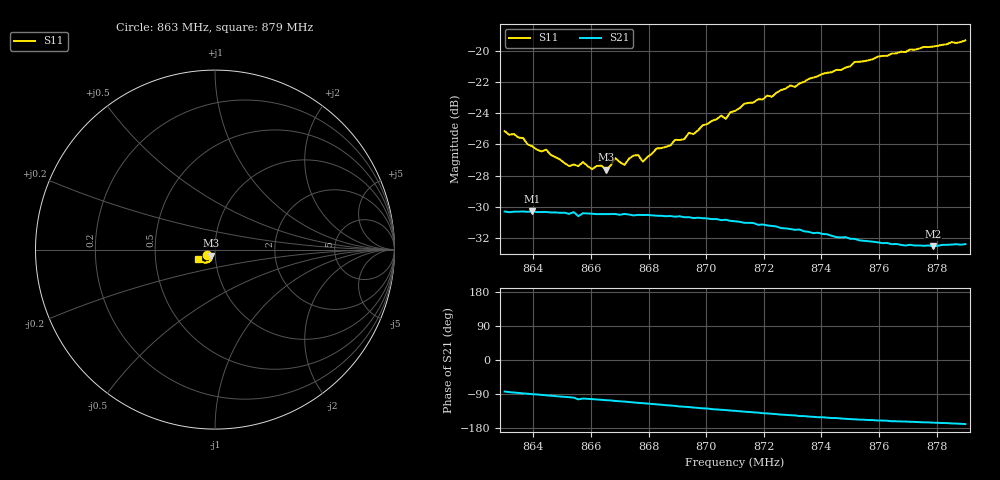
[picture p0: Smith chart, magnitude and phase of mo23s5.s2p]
# HZ S RI R 50
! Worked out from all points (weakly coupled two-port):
!   101 points, 863 MHz to 879 MHz, reference 50 ohm
!   highest |S21| = -30.28 dB at 863.96 MHz (marker M1); lowest = -32.5 dB at 877.88 MHz (marker M2)
!   lowest |S11| = -27.6 dB at 866.52 MHz (marker M3), VSWR 1.09, Z = 47.6 - j3.28 ohm
!   |S11| at or under -10 dB: start of sweep to end of sweep
!   S12 and S22 are empty: the file has one direction only
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8.63e8  -0.0471 -0.029  0.00359 -0.0304  0 0  0 0
8.6396e8  -0.0399 -0.0292  -9.4e-05 -0.0306  0 0  0 0
8.6444e8  -0.0419 -0.0239  -0.00163 -0.0304  0 0  0 0
8.6524e8  -0.0304 -0.0301  -0.00427 -0.0297  0 0  0 0
8.6572e8  -0.0294 -0.0327  -0.00611 -0.0296  0 0  0 0
8.6604e8  -0.0262 -0.0325  -0.00686 -0.0293  0 0  0 0
8.6636e8  -0.0267 -0.0336  -0.00777 -0.029  0 0  0 0
8.6652e8  -0.0234 -0.0344  -0.00832 -0.0288  0 0  0 0
8.6684e8  -0.0254 -0.0375  -0.00932 -0.0285  0 0  0 0
8.6716e8  -0.022 -0.037  -0.0101 -0.0283  0 0  0 0
8.6764e8  -0.0226 -0.0404  -0.0117 -0.0274  0 0  0 0
8.678e8  -0.0197 -0.0395  -0.0121 -0.0272  0 0  0 0
8.6844e8  -0.0201 -0.0444  -0.0139 -0.0261  0 0  0 0
8.694e8  -0.0205 -0.0506  -0.0165 -0.0243  0 0  0 0
8.6956e8  -0.0199 -0.0503  -0.0169 -0.0237  0 0  0 0
8.7052e8  -0.0236 -0.0573  -0.019 -0.0215  0 0  0 0
8.7068e8  -0.0208 -0.0568  -0.0193 -0.0213  0 0  0 0
8.71e8  -0.0239 -0.0596  -0.0198 -0.0204  0 0  0 0
8.7372e8  -0.0407 -0.0712  -0.0226 -0.013  0 0  0 0
8.7644e8  -0.0686 -0.0699  -0.0228 -0.00755  0 0  0 0
8.7788e8  -0.0819 -0.0629  -0.0229 -0.00596  0 0  0 0
8.79e8  -0.0928 -0.0552  -0.0236 -0.00456  0 0  0 0
